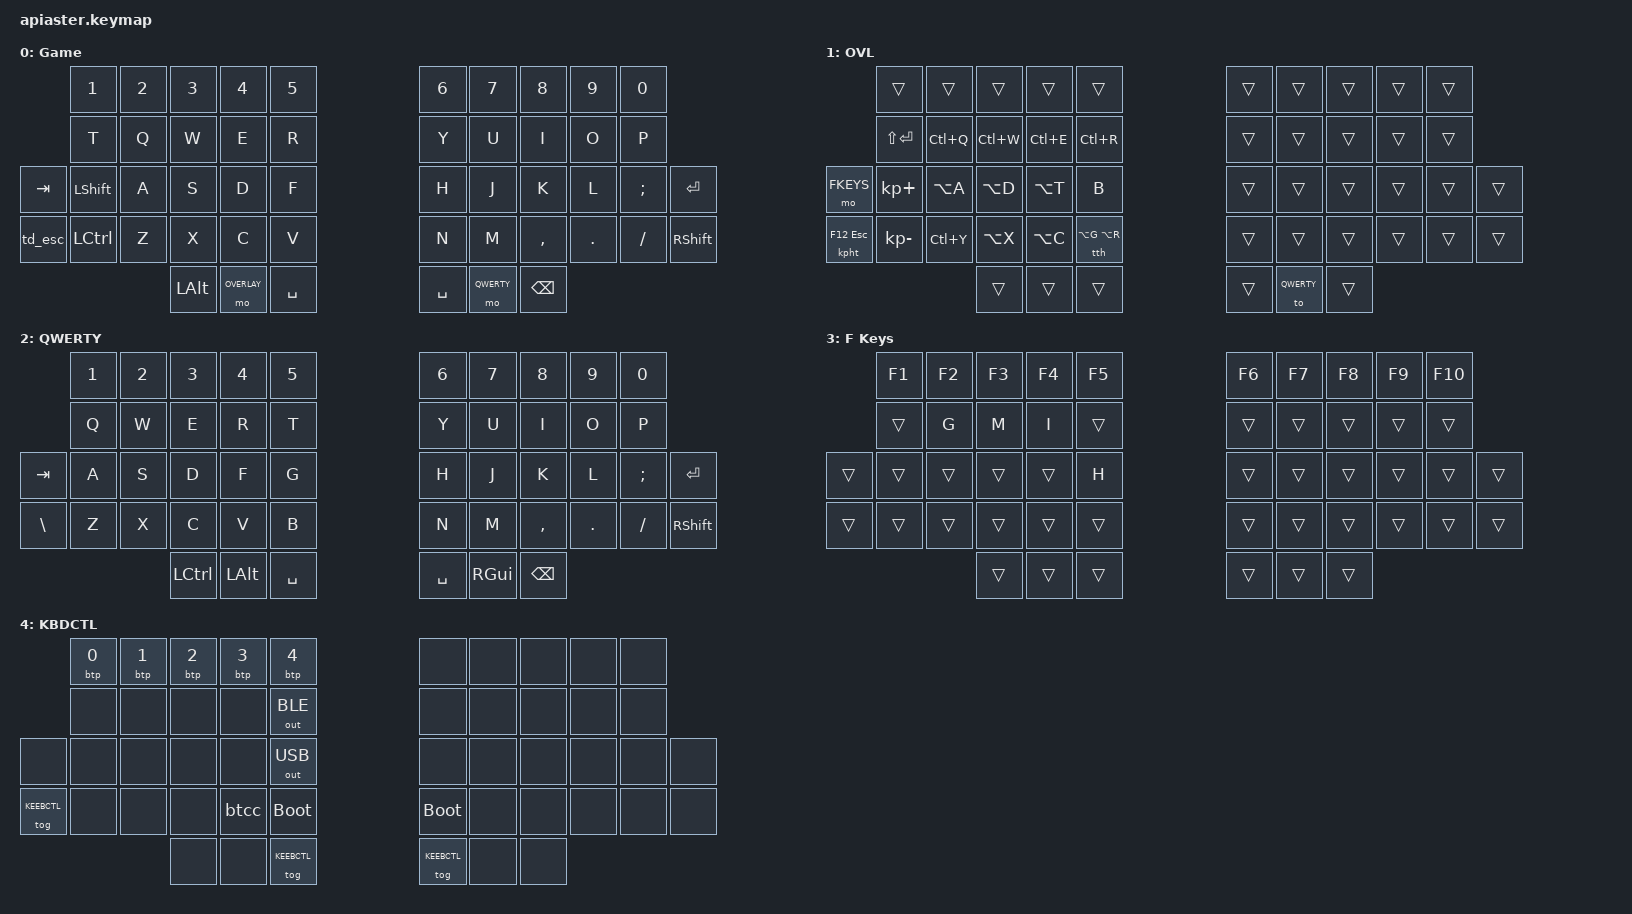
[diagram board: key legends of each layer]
/*
 * Copyright (c) 2025 Allister MacLeod
 *
 * SPDX-License-Identifier: MIT
 */

#include <behaviors.dtsi>
#include <dt-bindings/zmk/bt.h>
#include <dt-bindings/zmk/keys.h>
#include <dt-bindings/zmk/outputs.h>

#include "glam-util.dtsi"
#include "glam-gaming.dtsi"
#include "key-labels-glam/apiaster.h"

// Apiaster keymap.

#define DEFAULT 0
#define GAMING  0
#define OVERLAY 1
#define QWERTY  2
#define FKEYS   3
#define KEEBCTL 4

#include "glam-bt-kbdctl.dtsi"

/ {
  behaviors {
    td_esc: tap_dance_esc {
      compatible = "zmk,behavior-tap-dance";
      #binding-cells = <0>;
      tapping-term-ms = <600>;
      bindings = <&none>, <&none>, <&kp ESCAPE>;
    };
  };

  keymap {
    compatible = "zmk,keymap";

    gaming_layer {
//       ,-----------------------------.               ,-----------------------------.
//       |  1  |  2  |  3  |  4  |  5  |               |  6  |  7  |  8  |  9  |  0  |
// ,-----|  T  |  Q  |  W  |  E  |  R  |               |  Y  |  U  |  I  |  O  |  P  |-----.
// | Tab |Shift|  A  |  S  |  D  |  F  |               |  H  |  J  |  K  |  L  |  ;  |Enter|
// | Esc | Ctrl|  Z  |  X  |  C  |  V  |-----.   ,-----|  N  |  M  |  ,  |  .  |  /  |Shift|
// `-----------------------| Alt | OVL |Space|   |Space|QWRTY| Bksp|-----------------------'
//                         `-----------------'   `-----------------'
      bindings = <
                &kp N1      &kp N2  &kp N3  &kp N4  &kp N5                 &kp N6  &kp N7  &kp N8    &kp N9  &kp N0
                &kp T       &kp Q   &kp W   &kp E   &kp R                  &kp Y   &kp U   &kp I     &kp O   &kp P
&kp TAB         &kp LSHIFT  &kp A   &kp S   &kp D   &kp F                  &kp H   &kp J   &kp K     &kp L   &kp SEMI &kp ENTER
&td_esc &kp LCTRL   &kp Z   &kp X   &kp C   &kp V                  &kp N   &kp M   &kp COMMA &kp DOT &kp FSLH &kp RSHIFT
                                  &kp LALT &mo OVERLAY &kp SPACE   &kp SPACE &mo QWERTY &kp BACKSPACE
      >;
      display-name = "Game";
    };

    overlay_layer {
//       ,-----------------------------.               ,-----------------------------.
//       |     |     |     |     |     |               |     |     |     |     |     |
// ,-----|S+Ret| ^Q  | ^W  | ^E  | ^R  |               |     |     |     |     |     |-----.
// | FKY | KP+ |Alt-A|Alt-D|Alt-T|  B  |               |     |     |     |     |     |     |
// |E/F12| KP- | ^Y  |Alt-X|Alt-C|M-g/r|-----.   ,-----|     |     |     |     |     |     |
// `-----------------------|     |#####|     |   |     |QWRTY|     |-----------------------'
//                         `-----------------'   `-----------------'
      bindings = <
                 &trans         &trans    &trans    &trans    &trans                   &trans &trans &trans &trans &trans
                 &kp LS(RETURN) &kp LC(Q) &kp LC(W) &kp LC(E) &kp LC(R)                &trans &trans &trans &trans &trans
&mo FKEYS        &kp KP_PLUS    &kp LA(A) &kp LA(D) &kp LA(T) &kp B                    &trans &trans &trans &trans &trans &trans
&kpht F12 ESCAPE &kp KP_MINUS   &kp LC(Y) &kp LA(X) &kp LA(C) &tth LA(G) LA(R)         &trans &trans &trans &trans &trans &trans
                                                    &trans &trans &trans        &trans &to QWERTY &trans
      >;
      display-name = "OVL";
    };

    qwerty_layer {
//       ,-----------------------------.               ,-----------------------------.
//       |  1  |  2  |  3  |  4  |  5  |               |  6  |  7  |  8  |  9  |  0  |
// ,-----|  Q  |  W  |  E  |  R  |  T  |               |  Y  |  U  |  I  |  O  |  P  |-----.
// | Tab |  A  |  S  |  D  |  F  |  G  |               |  H  |  J  |  K  |  L  |  ;  |Enter|
// |  \  |  Z  |  X  |  C  |  V  |  B  |-----.   ,-----|  N  |  M  |  ,  |  .  |  /  |Shift|
// `-----------------------| Ctrl| Alt |Space|   |Space| GUI | Bksp|-----------------------'
//                         `-----------------'   `-----------------'
      bindings = <
         &kp N1  &kp N2  &kp N3  &kp N4  &kp N5                 &kp N6  &kp N7  &kp N8    &kp N9  &kp N0
         &kp Q   &kp W   &kp E   &kp R   &kp T                  &kp Y   &kp U   &kp I     &kp O   &kp P
&kp TAB  &kp A   &kp S   &kp D   &kp F   &kp G                  &kp H   &kp J   &kp K     &kp L   &kp SEMI &kp ENTER
&kp BSLH &kp Z   &kp X   &kp C   &kp V   &kp B                  &kp N   &kp M   &kp COMMA &kp DOT &kp FSLH &kp RSHIFT
                         &kp LCTRL &kp LALT &kp SPACE   &kp SPACE &kp RGUI &kp BACKSPACE
      >;
      display-name = "QWERTY";
    };

    fkeys_layer {
//       ,-----------------------------.               ,-----------------------------.
//       | F1  | F2  | F3  | F4  | F5  |               | F6  | F7  | F8  | F9  | F10 |
// ,-----|     |  G  |  M  |  I  |     |               |     |     |     |     |     |-----.
// |#####|     |     |     |     |  H  |               |     |     |     |     |     |     |
// |     |     |     |     |     |     |-----.   ,-----|     |     |     |     |     |     |
// `-----------------------|     |#####|     |   |     |     |     |-----------------------'
//                         `-----------------'   `-----------------'
      bindings = <
                &kp F1 &kp F2 &kp F3  &kp F4 &kp F5                 &kp F6 &kp F7 &kp F8 &kp F9 &kp F10
                &trans &kp G  &kp M   &kp I  &trans                 &trans &trans &trans &trans &trans
&trans          &trans &trans &trans  &trans &kp H                  &trans &trans &trans &trans &trans &trans
&trans          &trans &trans &trans  &trans &trans                 &trans &trans &trans &trans &trans &trans
                                   &trans &trans &trans     &trans &trans &trans
      >;
      display-name = "F Keys";
    };

    keyboard_control_layer {
//       ,-----------------------------.               ,-----------------------------.
//       | BT1 | BT2 | BT3 | BT4 | BT5 |               |     |     |     |     |     |
// ,-----|     |     |     |     | BLE |               |     |     |     |     |     |-----.
// |     |     |     |     |     | USB |               |     |     |     |     |     |     |
// | Exit|     |     |     |ClCur| DFU |-----.   ,-----| DFU |     |     |     |     | DFU |
// `-----------------------|     |     | Exit|   |Exit |     |     |-----------------------'
//                         `-----------------'   `-----------------'
      bindings = <
              &btp 0  &btp 1  &btp 2  &btp 3  &btp 4                &none       &none &none &none &none
              &none   &none   &none   &none   &out OUT_BLE          &none       &none &none &none &none
&none         &none   &none   &none   &none   &out OUT_USB          &none       &none &none &none &none &none
&tog KEEBCTL  &none   &none   &none   &btcc   &bootloader           &bootloader &none &none &none &none &none
                           &none &none &tog KEEBCTL     &tog KEEBCTL &none &none
      >;
      display-name = "KBDCTL";
    };
  };

  combos {
    compatible = "zmk,combos";

#define GLAM_SUPPRESS_FPS_RISKY
#include "glam-factorio-combos.dtsi"

#define GLAM_SUPPRESS_NUMBER_COMBOS
#include "glam-sym-nav-num-combos.dtsi"

    combo_pinky_thumb_fkeys {
      timeout-ms = <50>;
      key-positions = <LM5 LH1>;
      bindings = <&mo FKEYS>;
      layers = <GAMING>;
    };

    combo_outer_and_thumbs_keyboard_control {
      timeout-ms = <50>;
      key-positions = <LM5 LB5 LH2 LH1 LH0>;
      bindings = <&tog KEEBCTL>;
    };
  };
};

//       ,-----------------------------.               ,-----------------------------.
//       |     |     |     |     |     |               |     |     |     |     |     |
// ,-----|     |     |     |     |     |               |     |     |     |     |     |-----.
// |     |     |     |     |     |     |               |     |     |     |     |     |     |
// |     |     |     |     |     |     |-----.   ,-----|     |     |     |     |     |     |
// `-----------------------|     |     |     |   |     |     |     |-----------------------'
//                         `-----------------'   `-----------------'
